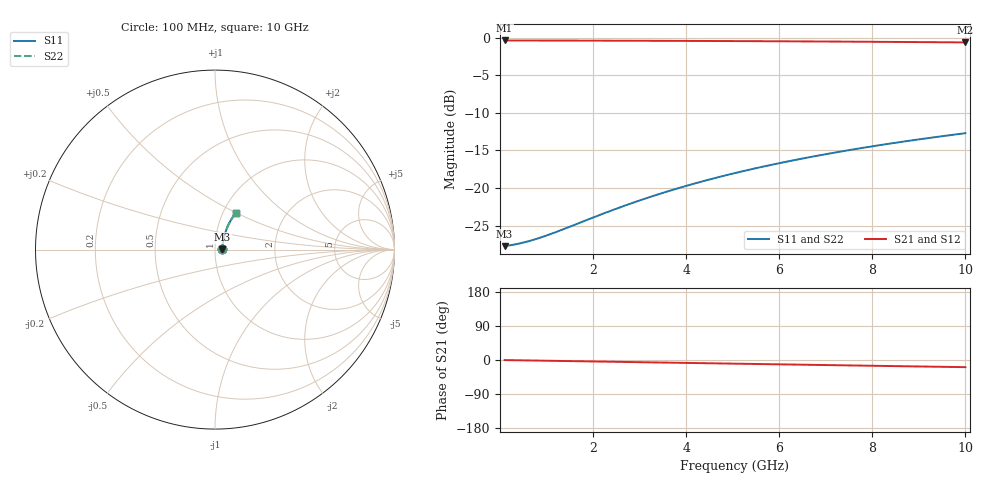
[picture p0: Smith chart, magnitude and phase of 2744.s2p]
# Hz S RI R 50.00
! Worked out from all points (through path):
!   100 points, 100 MHz to 10 GHz, reference 50 ohm
!   highest |S21| = -0.36 dB at 100 MHz (marker M1); lowest = -0.6 dB at 10 GHz (marker M2)
!   group delay of S21, straight-line fit = 5.26 ps
!   lowest |S11| = -27.7 dB at 100 MHz (marker M3), VSWR 1.09, Z = 54.3 + j0.242 ohm
!   |S11| at or under -10 dB: start of sweep to end of sweep
!   |S22| runs from -27.7 to -12.7 dB; largest |S21 - S12| = 0
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1e8  0.041 0.00223  0.959 -0.00322  0.959 -0.00322  0.041 0.00223
4e8  0.0417 0.0089  0.9583 -0.0129  0.9583 -0.0129  0.0417 0.0089
6e8  0.0421 0.0133  0.9579 -0.0193  0.9579 -0.0193  0.0421 0.0133
8e8  0.0425 0.0178  0.9575 -0.0257  0.9575 -0.0257  0.0425 0.0178
1e9  0.0429 0.0222  0.957 -0.0322  0.957 -0.0322  0.0429 0.0222
1.2e9  0.0434 0.0266  0.9565 -0.0386  0.9565 -0.0386  0.0434 0.0266
1.8e9  0.0451 0.0398  0.9547 -0.0578  0.9547 -0.0578  0.0451 0.0398
2.2e9  0.0465 0.0486  0.9533 -0.0705  0.9533 -0.0705  0.0465 0.0486
2.6e9  0.048 0.0573  0.9516 -0.0832  0.9516 -0.0832  0.048 0.0573
3e9  0.0498 0.066  0.9497 -0.0958  0.9497 -0.0958  0.0498 0.066
3.4e9  0.0519 0.0746  0.9475 -0.1084  0.9475 -0.1084  0.0519 0.0746
3.8e9  0.0541 0.0831  0.9451 -0.1209  0.9451 -0.1209  0.0541 0.0831
4.2e9  0.0565 0.0915  0.9425 -0.1334  0.9425 -0.1334  0.0565 0.0915
4.6e9  0.0592 0.0999  0.9397 -0.1457  0.9397 -0.1457  0.0592 0.0999
5.1e9  0.0628 0.1102  0.9358 -0.161  0.9358 -0.161  0.0628 0.1102
5.5e9  0.066 0.1184  0.9325 -0.1732  0.9325 -0.1732  0.066 0.1184
5.9e9  0.0693 0.1264  0.9289 -0.1852  0.9289 -0.1852  0.0693 0.1264
6.7e9  0.0766 0.1422  0.9211 -0.209  0.9211 -0.209  0.0766 0.1422
7.5e9  0.0846 0.1575  0.9125 -0.2322  0.9125 -0.2322  0.0846 0.1575
8.4e9  0.0945 0.174  0.9018 -0.2578  0.9018 -0.2578  0.0945 0.174
9.2e9  0.1041 0.1881  0.8916 -0.2799  0.8916 -0.2799  0.1041 0.1881
1e10  0.1142 0.2016  0.8806 -0.3014  0.8806 -0.3014  0.1142 0.2016
